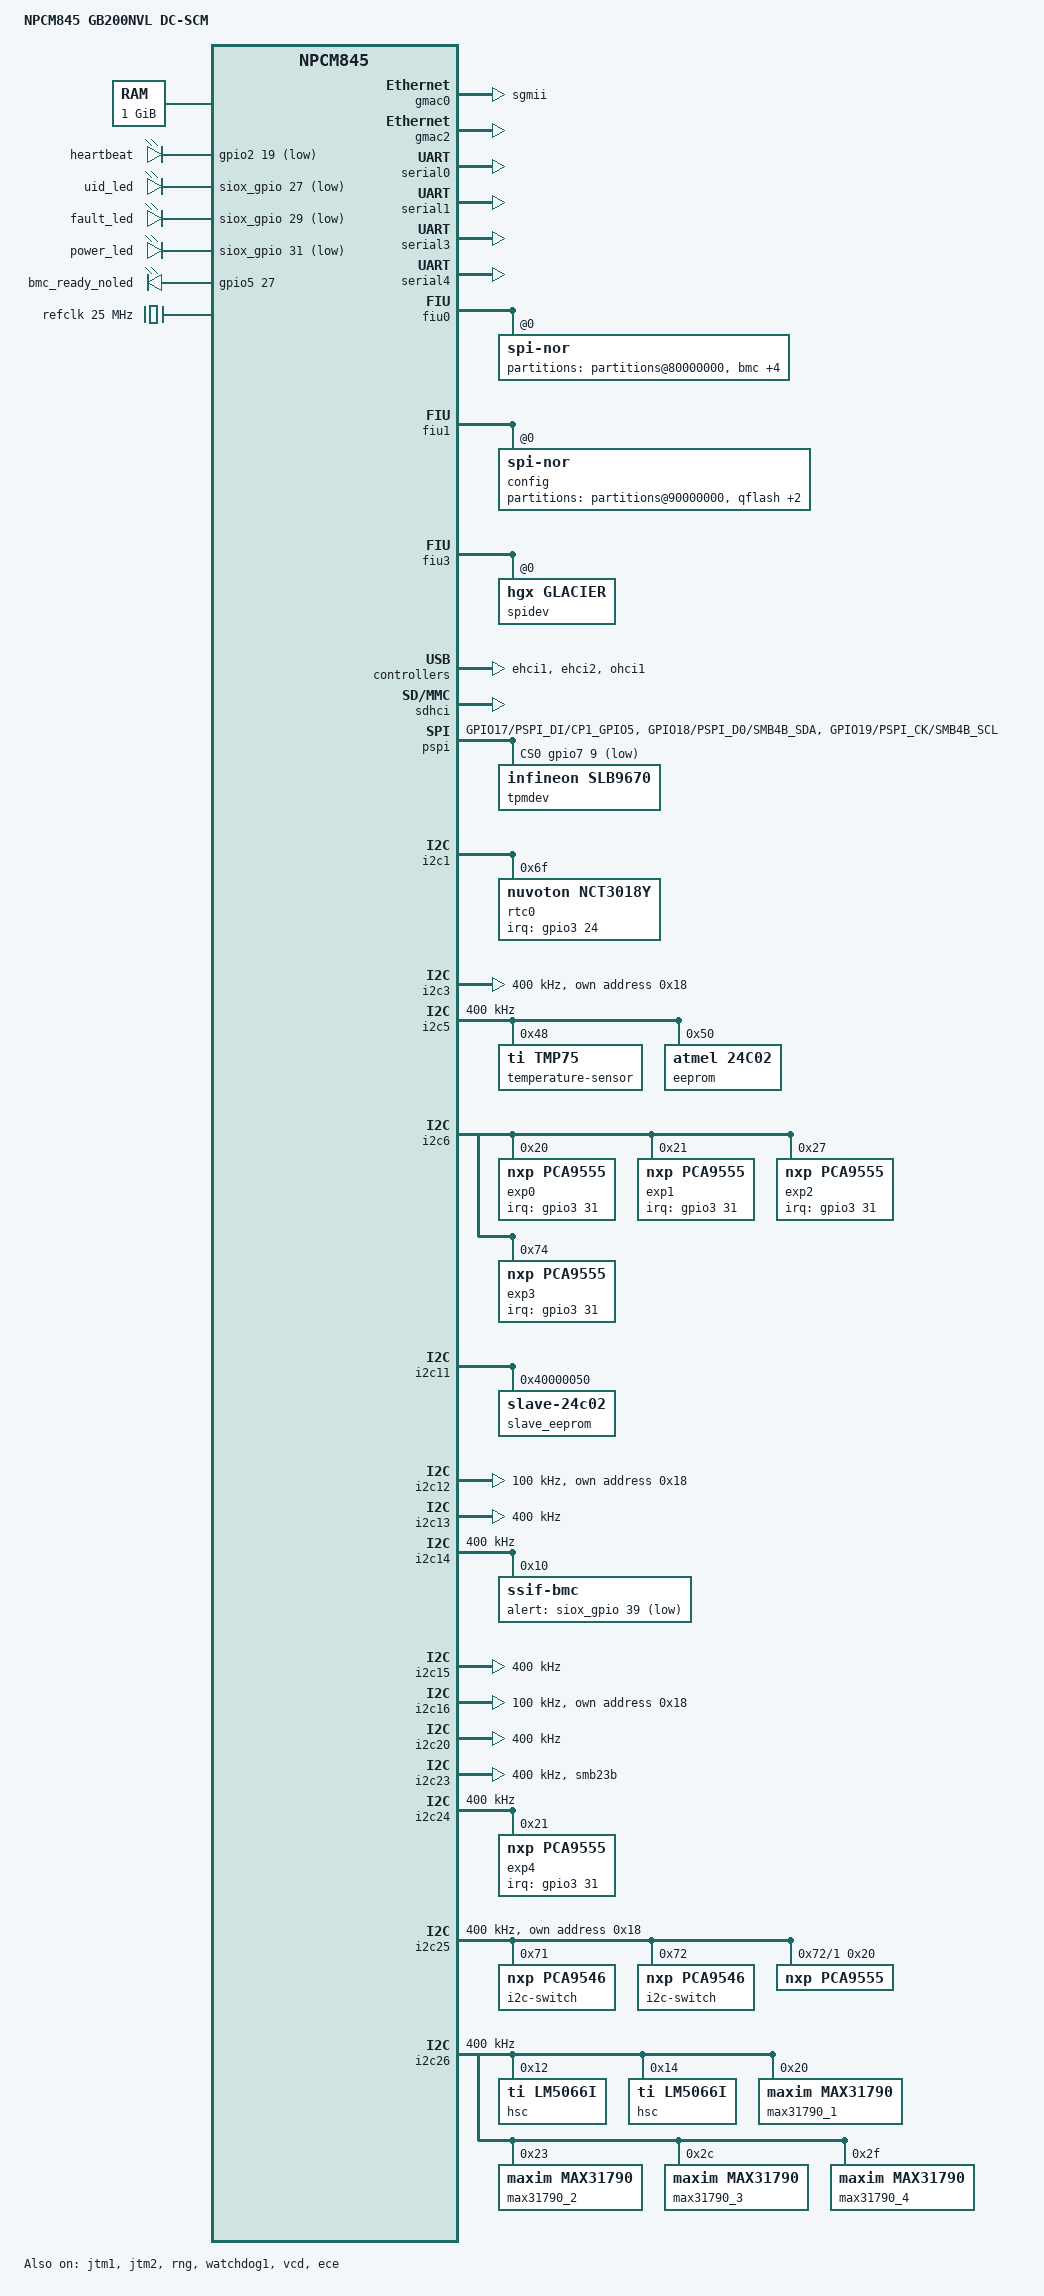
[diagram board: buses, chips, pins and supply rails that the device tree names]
// SPDX-License-Identifier: GPL-2.0
// Copyright (c) 2025 Nuvoton Technology

/dts-v1/;
#include "nuvoton-npcm845.dtsi"
#include <dt-bindings/leds/common.h>
#include <dt-bindings/i2c/i2c.h>
#include <dt-bindings/leds/leds-pca955x.h>

/ {
	model = "NPCM845 GB200NVL DC-SCM";
	compatible = "nuvoton,npcm845";

	aliases {
		serial0 = &serial0;
		serial1 = &serial1;
		serial2 = &serial3;
		serial3 = &serial4;
		ethernet0 = &gmac0;
		ethernet2 = &gmac2;
		fiu0 = &fiu0;
		fiu1 = &fiu1;
		fiu3 = &fiu3;
		i2c0 = &i2c14;
		i2c1 = &i2c15;
		i2c2 = &i2c20;
		i2c3 = &i2c23;
		i2c4 = &i2c24;
		i2c5 = &i2c25;
		i2c6 = &i2c26;
		i2c7 = &i2c2;
		i2c8 = &i2c3;
		i2c9 = &i2c6;
		i2c10 = &i2c5;
		i2c11 = &i2c13;
		i2c12 = &i2c7;
		i2c13 = &i2c0;
		i2c14 = &i2c16;
		i2c15 = &i2c12;
		i2c16 = &imux16;
		i2c17 = &imux17;
		i2c18 = &imux18;
		i2c19 = &imux19;
		i2c20 = &imux20;
		i2c21 = &imux21;
		i2c22 = &imux22;
		i2c23 = &imux23;
		i2c60 = &i2c1;
		i2c61 = &i2c11;
	};

	chosen {
		stdout-path = &serial0;
	};

	memory {
		reg = <0x0 0x0 0x0 0x40000000>;
	};

	led_bmc_hb {
		compatible = "gpio-leds";
		heartbeat {
			label = "heartbeat";
			gpios = <&gpio2 19 GPIO_ACTIVE_LOW>; /* gpio83 */
			linux,default-trigger = "timer";
			led-pattern = <1000 1000>;
			default-state = "on";
		};
	};

	leds {
		compatible = "gpio-leds";
		uid_led {
			gpios = <&siox_gpio 27 GPIO_ACTIVE_LOW>;
		};
		fault_led {
			gpios = <&siox_gpio 29 GPIO_ACTIVE_LOW>;
		};
		power_led {
			gpios = <&siox_gpio 31 GPIO_ACTIVE_LOW>;
		};

		// Non-LEDs:
		//   BMC_READY-O GPIO pin (not an LED) is being bound to the GPIO LED driver.
		// Notes:
		// * This is a workaround and leverages the GPIO LED driver to enable control of
		//   reset tolerance and still allow the GPIO to be controlled from user space.
		// * The standard Linux GPIO driver allows control of reset tolerance, however
		//   does not expose user space APIs for user space control of the GPIO pin.
		// * GPIO_TRANSITORY = reset tolerance is disabled
		// * Any non-leds should be added below this line.
		bmc_ready_noled {
			gpios = <&gpio5 27 GPIO_ACTIVE_HIGH>; /* GPIO187 */
		};
	};

	refclk: refclk-25mhz {
		compatible = "fixed-clock";
		clock-output-names = "ref";
		clock-frequency = <25000000>;
		#clock-cells = <0>;
	};

	reserved-memory {
		#address-cells = <2>;
		#size-cells = <2>;
		ranges;

		tip_reserved: tip@0x0 {
			reg = <0x0 0x0 0x0 0x6200000>;
		};
	};
};

&gmac0 {
	phy-mode = "sgmii";
	npcm,sgmii-an;
	snps,eee-force-disable;
	status = "okay";
};

&gmac2 {
	status = "okay";
	pinctrl-names = "default";
	pinctrl-0 = <&r1_pins
		     &r1oen_pins>;
	use-ncsi;
};

&siox_gpio {
	status = "okay";
	interrupt-controller;
	#interrupt-cells = <2>;
	gpio-line-names =
	"","","","","","","","",
	"","","","","","","","",
	"RUN_POWER_FAULT_L-I","SYS_RST_IN_L-O","RUN_POWER_PG-I","PWR_BRAKE_L-O","SYS_RST_OUT_L-I","RUN_POWER_EN-O","L0L1_RST_REQ_OUT_L-I","SHDN_FORCE_L-O",
	"L2_RST_REQ_OUT_L-I","SHDN_REQ_L-O","SHDN_OK_L-I","UID_LED_N-O","BMC_I2C1_FPGA_ALERT_L-I","SYS_FAULT_LED_N-O","BMC_I2C0_FPGA_ALERT_L-I","PWR_LED_N-O",
	"FPGA_RSVD_FFU3-I","","FPGA_RSVD_FFU2-I","","FPGA_RSVD_FFU1-I","","FPGA_RSVD_FFU0-I","BMC_I2C_SSIF_ALERT_L-O",
	"CPU_BOOT_DONE-I","JTAG_MUX_SELECT-O","SPI_BMC_FPGA_INT_L-I","RTC_CLR_L-O","THERM_BB_WARN_L-I","UART_MUX_SEL-O","THERM_BB_OVERT_L-I","",
	"CPU0_UPHY3_PRSNT1_L-I","IOBRD0_RUN_POWER_EN-O","CPU0_UPHY3_PRSNT0_L-I","IOBRD1_RUN_POWER_EN-O","CPU0_UPHY2_PRSNT1_L-I","FPGA_RSVD_FFU4-O","CPU0_UPHY2_PRSNT0_L-I","FPGA_RSVD_FFU5-O",
	"CPU0_UPHY1_PRSNT1_L-I","FPGA_RSVD_FFU6-O","CPU0_UPHY1_PRSNT0_L-I","FPGA_RSVD_FFU7-O","CPU0_UPHY0_PRSNT1_L-I","RSVD_NV_PLT_DETECT-O","CPU0_UPHY0_PRSNT0_L-I","SPI1_INT_L-O",
	"CPU1_UPHY3_PRSNT1_L-I","","CPU1_UPHY3_PRSNT0_L-I","HMC_EROT_MUX_STATUS","CPU1_UPHY2_PRSNT1_L-I","","CPU1_UPHY2_PRSNT0_L-I","",
	"CPU1_UPHY1_PRSNT1_L-I","","CPU1_UPHY1_PRSNT0_L-I","","CPU1_UPHY0_PRSNT1_L-I","","CPU1_UPHY0_PRSNT0_L-I","",
	"FAN1_PRESENT_L-I","","FAN0_PRESENT_L-I","","","","IPEX_CABLE_PRSNT_L-I","",
	"M2_1_PRSNT_L-I","","M2_0_PRSNT_L-I","","CPU1_UPHY4_PRSNT1_L-I","","CPU0_UPHY4_PRSNT0_L-I","",
	"","","I2C_RTC_ALERT_L-I","","FAN7_PRESENT_L-I","","FAN6_PRESENT_L-I","",
	"FAN5_PRESENT_L-I","","FAN4_PRESENT_L-I","","FAN3_PRESENT_L-I","","FAN2_PRESENT_L-I","",
	"IOBRD0_IOX_INT_L-I","","IOBRD1_PRSNT_L-I","","IOBRD0_PRSNT_L-I","","IOBRD1_PWR_GOOD-I","",
	"IOBRD0_PWR_GOOD-I","","","","","","FAN_FAIL_IN_L-I","",
	"","","","","","","PDB_CABLE_PRESENT_L-I","",
	"","","CHASSIS_PWR_BRK_L-I","","","","IOBRD1_IOX_INT_L-I","",
	"10GBE_SMBALRT_L-I","","PCIE_WAKE_L-I","","I2C_M21_ALERT_L-I","","I2C_M20_ALERT_L-I","",
	"TRAY_FAST_SHDN_L-I","","UID_BTN_N-I","","PWR_BTN_L-I","","PSU_SMB_ALERT_L-I","",
	"","","","","NODE_LOC_ID[0]-I","","NODE_LOC_ID[1]-I","",
	"NODE_LOC_ID[2]-I","","NODE_LOC_ID[3]-I","","NODE_LOC_ID[4]-I","","NODE_LOC_ID[5]-I","",
	"FAN10_PRESENT_L-I","","FAN9_PRESENT_L-I","","FAN8_PRESENT_L-I","","FPGA1_READY_HMC-I","",
	"DP_HPD-I","","HMC_I2C3_FPGA_ALERT_L-I","","HMC_I2C2_FPGA_ALERT_L-I","","FPGA0_READY_HMC-I","",
	"","","","","","","","",
	"LEAK_DETECT_ALERT_L-I","","MOD1_B2B_CABLE_PRESENT_L-I","","MOD1_CLINK_CABLE_PRESENT_L-I","","FAN11_PRESENT_L-I","",
	"","","","","","","","",
	"","","","","","","","",
	"","","","","","","","",
	"","","","","","","","",
	"RSVD_SGPIO_IN_CRC[0]","RSVD_SGPIO_O_CRC[7]","RSVD_SGPIO_IN_CRC[1]","RSVD_SGPIO_O_CRC[6]","RSVD_SGPIO_IN_CRC[2]","RSVD_SGPIO_O_CRC[5]","RSVD_SGPIO_IN_CRC[3]","RSVD_SGPIO_O_CRC[4]",
	"RSVD_SGPIO_IN_CRC[4]","RSVD_SGPIO_O_CRC[3]","RSVD_SGPIO_IN_CRC[5]","RSVD_SGPIO_O_CRC[2]","RSVD_SGPIO_IN_CRC[6]","RSVD_SGPIO_O_CRC[1]","RSVD_SGPIO_IN_CRC[7]","RSVD_SGPIO_O_CRC[0]";
};

&gcr {
	mux-controller {
		compatible = "mmio-mux";
		#mux-control-cells = <1>;
		mux-reg-masks = <0x38 0x07>;
		idle-states = <2>; // UART switch mode 3
	};
};

&serial0 {
	status = "okay";
};

&serial1 {
	status = "okay";
	pinctrl-names = "default";
	pinctrl-0 = <&bmcuart1_pins>;
};

&serial3 {
	status = "okay";
};

&serial4 {
	status = "okay";
	pinctrl-names = "default";
	pinctrl-0 = <&bu4b_pins>;
};

&fiu0 {
	status = "okay";
	reg = <0x0 0xfb000000 0x0 0x1000>;
	reg-names = "control";
	spi-nor@0 {
		compatible = "jedec,spi-nor";
		#address-cells = <1>;
		#size-cells = <1>;
		spi-rx-bus-width = <4>;
		spi-tx-bus-width = <4>;
		reg = <0>;
		partitions@80000000 {
			compatible = "fixed-partitions";
			#address-cells = <1>;
			#size-cells = <1>;
			bmc@0 {
				label = "bmc";
				reg = <0x00000000 0x40000000>;
			};
			u-boot@0 {
				label = "u-boot";
				reg = <0x00000000 0x001E0000>;
			};
			u-boot-env@1E0000 {
				label = "u-boot-env";
				reg = <0x001E0000 0x00020000>;
			};
			kernel@200000 {
				label = "kernel";
				reg = <0x00200000 0x00800000>;
			};
			rofs@a00000 {
				label = "rofs";
				reg = <0x00A00000 0x03600000>;
			};
		};
	};
};

&fiu1 {
	pinctrl-names = "default";
	pinctrl-0 = <&spi1_pins>;
	status = "okay";
	spi-nor@0 {
		compatible = "jedec,spi-nor";
		#address-cells = <1>;
		#size-cells = <1>;
		spi-rx-bus-width = <2>;
		spi-tx-bus-width = <2>;
		reg = <0>;
		label = "config";
		partitions@90000000 {
			compatible = "fixed-partitions";
			#address-cells = <1>;
			#size-cells = <1>;
			qflash@0 {
				label = "qflash";
				reg = <0x00000000 0x04000000>;
			};
			rwfs@0 {
				label = "rwfs";
				reg = <0x00000000 0x01000000>;
			};
			log@0x01000000 {
				label = "log";
				reg = <0x01000000 0x03000000>;
			};
		};
	};
};

&fiu3 {
	pinctrl-names = "default";
	pinctrl-0 = <&spi3_pins
		&spi3quad_pins>;
	status = "okay";
	spidev@0 {
		compatible = "hgx,glacier";
		reg = <0>;
	};
};

&ehci1 {
	status = "okay";
};

&ehci2 {
	status = "okay";
};

&ohci1 {
        status = "okay";
};

&sdhci {
	status = "okay";
};

&jtm1 {
	status = "okay";
};

&jtm2 {
	status = "okay";
};

&rng {
	status = "okay";
};


&watchdog1 {
	status = "okay";
};

&pspi {
	status = "okay";
	cs-gpios = <&gpio7 9 GPIO_ACTIVE_LOW>; /* gpio233 */
	pinctrl-0 = <&pspi_pins
		     &pspi_di_slew
		     &pspi_d0_slew
		     &pspi_ck_slew>;

	// NPCT760AACYX TPM
	spi-max-frequency = <1000000>;
	tpmdev@0 {
		compatible = "infineon,slb9670", "tcg,tpm_tis-spi";
		reg = <0>;
	};
};

&i2c1 {
	status = "okay";
	rtc0: rtc@6f {
		compatible = "nuvoton,nct3018y";
		reg = <0x6f>;
		interrupt-parent = <&gpio3>;
		interrupts = <24 IRQ_TYPE_EDGE_FALLING>; /* gpio120 */
		interrupt-names = "irq";
		wakeup-source;
	};
};

&i2c3 {
	status = "okay";
	clock-frequency = <400000>;
	multi-master;
    mctp-controller;
    mctp@18 {
        compatible = "mctp-i2c-controller";
        reg = <(0x18 | I2C_OWN_SLAVE_ADDRESS)>;
    };
};

&i2c5 {
	status = "okay";
	clock-frequency = <400000>;

	temperature-sensor@48 {
		compatible = "ti,tmp75";
		reg = <0x48>;
	};

	eeprom@50 {
		compatible = "atmel,24c02";
		reg = <0x50>;
		pagesize = <8>;
	};
};

&i2c6 {
	status = "okay";
	// Module 0, Expander @0x20
	exp0: pca9555@20 {
		compatible = "nxp,pca9555";
		reg = <0x20>;
		gpio-controller;
		#gpio-cells = <2>;
		#address-cells = <1>;
		#size-cells = <0>;
		interrupt-controller;
		#interrupt-cells = <2>;
		interrupt-parent = <&gpio3>;
		interrupts = <31 IRQ_TYPE_EDGE_FALLING>; /* gpio127 */

		gpio-line-names =
		"FPGA_THERM_OVERT_L-I",
		"FPGA_READY_BMC-I",
		"HMC_BMC_DETECT-O",
		"HMC_PGOOD-O",
		"",
		"BMC_STBY_CYCLE-O",
		"FPGA_EROT_FATAL_ERROR_L-I",
		"WP_HW_EXT_CTRL_L-O",
		"EROT_FPGA_RST_L-O",
		"FPGA_EROT_RECOVERY_L-O",
		"BMC_EROT_FPGA_SPI_MUX_SEL-O",
		"USB_HUB_RESET_L-O",
		"NCSI_CS1_SEL-O",
		"SGPIO_EN_L-O",
		"B2B_IOEXP_INT_L-I",
		"I2C_BUS_MUX_RESET_L-O";
	};

	// Module 1, Expander @0x21
	exp1: pca9555@21 {
		compatible = "nxp,pca9555";
		reg = <0x21>;
		gpio-controller;
		#gpio-cells = <2>;
		#address-cells = <1>;
		#size-cells = <0>;
		interrupt-controller;
		#interrupt-cells = <2>;
		interrupt-parent = <&gpio3>;
		interrupts = <31 IRQ_TYPE_EDGE_FALLING>; /* gpio127 */

		gpio-line-names =
		"SEC_FPGA_THERM_OVERT_L-I",
		"SEC_FPGA_READY_BMC-I",
		"",
		"",
		"",
		"",
		"SEC_FPGA_EROT_FATAL_ERROR_L-I",
		"SEC_WP_HW_EXT_CTRL_L-O",
		"SEC_EROT_FPGA_RST_L-O",
		"SEC_FPGA_EROT_RECOVERY_L-O",
		"SEC_BMC_EROT_FPGA_SPI_MUX_SEL-O",
		"SEC_USB2_HUB_RST_L-O",
		"",
		"",
		"",
		"SEC_I2C_BUS_MUX_RESET_L-O";
	};

	// HMC Expander @0x27
	exp2: pca9555@27 {
		compatible = "nxp,pca9555";
		reg = <0x27>;
		gpio-controller;
		#gpio-cells = <2>;
		#address-cells = <1>;
		#size-cells = <0>;
		interrupt-controller;
		#interrupt-cells = <2>;
		interrupt-parent = <&gpio3>;
		interrupts = <31 IRQ_TYPE_EDGE_FALLING>; /* gpio127 */

		gpio-line-names =
		"HMC_PRSNT_L-I",
		"HMC_READY-I",
		"HMC_EROT_FATAL_ERROR_L-I",
		"I2C_MUX_SEL-O",
		"HMC_EROT_SPI_MUX_SEL-O",
		"HMC_EROT_RECOVERY_L-O",
		"HMC_EROT_RST_L-O",
		"GLOBAL_WP_HMC-O",
		"FPGA_RST_L-O",
		"USB2_HUB_RST-O",
		"CPU_UART_MUX_SEL-O",
		"",
		"",
		"",
		"",
		"";
	};

	// HMC Expander @0x74
	exp3: pca9555@74 {
		compatible = "nxp,pca9555";
		reg = <0x74>;
		gpio-controller;
		#gpio-cells = <2>;
		#address-cells = <1>;
		#size-cells = <0>;
		interrupt-controller;
		#interrupt-cells = <2>;
		interrupt-parent = <&gpio3>;
		interrupts = <31 IRQ_TYPE_EDGE_FALLING>; /* gpio127 */

		gpio-line-names =
		"IOB_PRSNT_L",
		"IOB_DP_HPD",
		"IOX_BMC_RESET",
		"IOB_IOEXP_INT_L",
		"IOB_UID_LED_L",
		"IOB_UID_BTN_L",
		"IOB_SYS_RST_BTN_L",
		"IOB_PWR_LED_L",
		"IOB_PWR_BTN_L",
		"IOB_PHY_RST",
		"CPLD_JTAG_MUX_SEL",
		"",
		"",
		"",
		"",
		"";
	};
};

&i2c11 {
	status = "okay";
	/delete-property/ pinctrl-0;
	/delete-property/ pinctrl-names;
	//Internal eeprom for DVO
	slave_eeprom: slave_eeprom@40000050 {
		compatible = "slave-24c02";
		reg = <0x40000050>;
		status = "okay";
	};
};

&i2c12 {
	status = "okay";
	clock-frequency = <100000>;
	multi-master;
    mctp-controller;
    mctp@18 {
        compatible = "mctp-i2c-controller";
        reg = <(0x18 | I2C_OWN_SLAVE_ADDRESS)>;
    };
};

&i2c13 {
	status = "okay";
	clock-frequency = <400000>;
};


&i2c14 {
	status = "okay";
	clock-frequency = <400000>;
	ssif-bmc@10 {
		compatible = "ssif-bmc";
		alert-gpio = <&siox_gpio 39 GPIO_ACTIVE_LOW>;
		pulse_width_us = <5>;
		timeout_ms = <4995>;
		reg = <0x10>;
	};
};

&i2c15 {
	status = "okay";
	clock-frequency = <400000>;
	multi-master;
};

&i2c16 {
	status = "okay";
	clock-frequency = <100000>;
	multi-master;
    mctp-controller;
    mctp@18 {
        compatible = "mctp-i2c-controller";
        reg = <(0x18 | I2C_OWN_SLAVE_ADDRESS)>;
    };
};

&i2c20 {
	status = "okay";
	clock-frequency = <400000>;
	multi-master;
};

&i2c23 {
	status = "okay";
	clock-frequency = <400000>;
	pinctrl-0 = <&smb23b_pins>;
};

&i2c24 {
	status = "okay";
	clock-frequency = <400000>;
	pinctrl-0 = <&smb8_pins>;

	// Module 0, Expander @0x21
	exp4: pca9555@21 {
		compatible = "nxp,pca9555";
		reg = <0x21>;
		gpio-controller;
		#gpio-cells = <2>;
		#address-cells = <1>;
		#size-cells = <0>;
		interrupt-controller;
		#interrupt-cells = <2>;
		interrupt-parent = <&gpio3>;
		interrupts = <31 IRQ_TYPE_EDGE_FALLING>; /* gpio127 */

		gpio-line-names =
		"RTC_MUX_SEL-O",
		"PCI_MUX_SEL-O",
		"TPM_MUX_SEL-O",
		"FAN_MUX-SEL-O",
		"SGMII_MUX_SEL-O",
		"DP_MUX_SEL-O",
		"UPHY3_USB_SEL-O",
		"NCSI_MUX_SEL-O",
		"BMC_PHY_RST-O",
		"RTC_CLR_L-O",
		"BMC_12V_CTRL-O",
		"PS_RUN_IO0_PG-I",
		"",
		"",
		"",
		"";
	};
};

&i2c25 {
	status = "okay";
	clock-frequency = <400000>;
	pinctrl-0 = <&smb9_pins>;
	mctp-controller;
	multi-master;
    mctp@18 {
        compatible = "mctp-i2c-controller";
        reg = <(0x18 | I2C_OWN_SLAVE_ADDRESS)>;
    };
    i2c-switch@71 {
        compatible = "nxp,pca9546";
        #address-cells = <1>;
        #size-cells = <0>;
        reg = <0x71>;

        imux16: i2c@0 {
            #address-cells = <1>;
            #size-cells = <0>;
            reg = <0>;
            mctp-controller;
        };

        imux17: i2c@1 {
            #address-cells = <1>;
            #size-cells = <0>;
            reg = <1>;
        };

        imux18: i2c@2 {
            #address-cells = <1>;
            #size-cells = <0>;
            reg = <2>;
            mctp-controller;
        };

        imux19: i2c@3 {
            #address-cells = <1>;
            #size-cells = <0>;
            reg = <3>;
        };
    };

    i2c-switch@72 {
        compatible = "nxp,pca9546";
        #address-cells = <1>;
        #size-cells = <0>;
        reg = <0x72>;

        imux20: i2c@0 {
            #address-cells = <1>;
            #size-cells = <0>;
            reg = <0>;
        };

        imux21: i2c@1 {
            #address-cells = <1>;
            #size-cells = <0>;
            reg = <1>;
            pca9555@20 {
                compatible = "nxp,pca9555";
                reg = <0x20>;
                gpio-controller;
                #gpio-cells = <2>;
                #address-cells = <1>;
                #size-cells = <0>;
                gpio-line-names =
                    "RST_CX_0_L-O",
                    "RST_CX_1_L-O",
                    "CX0_SSD0_PRSNT_L-I",
                    "CX1_SSD1_PRSNT_L-I",
                    "CX_BOOT_CMPLT_CX0-I",
                    "CX_BOOT_CMPLT_CX1-I",
                    "CX_TWARN_CX0_L-I",
                    "CX_TWARN_CX1_L-I",
                    "CX_OVT_SHDN_CX0-I",
                    "CX_OVT_SHDN_CX1-I",
                    "FNP_L_CX0-O",
                    "FNP_L_CX1-O",
                    "",
                    "MCU_GPIO-I",
                    "MCU_RST_N-O",
                    "MCU_RECOVERY_N-O";
            };
        };

        imux22: i2c@2 {
            #address-cells = <1>;
            #size-cells = <0>;
            reg = <2>;
        };

        imux23: i2c@3 {
            #address-cells = <1>;
            #size-cells = <0>;
            reg = <3>;
        };
    };
};

&i2c26 {
	status = "okay";
	clock-frequency = <400000>;
	pinctrl-0 = <&smb10_pins>;

	hsc@12 {
		compatible = "ti,lm5066i";
		reg = <0x12>;
		shunt-resistor-micro-ohms = <190>;
		status = "okay";
	};

	hsc@14 {
		compatible = "ti,lm5066i";
		reg = <0x14>;
		shunt-resistor-micro-ohms = <190>;
		status = "okay";
	};

	max31790_1 {
		compatible = "maxim,max31790";
		reg = <0x20>;
		#address-cells = <1>;
		#size-cells = <0>;
	};

	max31790_2 {
		compatible = "maxim,max31790";
		reg = <0x23>;
		#address-cells = <1>;
		#size-cells = <0>;
	};

	max31790_3 {
		compatible = "maxim,max31790";
		reg = <0x2c>;
		#address-cells = <1>;
		#size-cells = <0>;
	};

	max31790_4 {
		compatible = "maxim,max31790";
		reg = <0x2f>;
		#address-cells = <1>;
		#size-cells = <0>;
	};
};


&vcd {
	status = "okay";
	nuvoton,hsync-mode;
};

&ece {
	status = "okay";
};

&pinctrl {
	pinctrl-names = "default";
	pinctrl-0 = <&tp_uart_pins
		     &pin120_input
			 &pin75_oh>;

	gpio0: gpio@f0010000 {
		interrupt-controller;
		#interrupt-cells = <2>;
		gpio-line-names =
		/*0-31*/
		"","","","","","","","",
		"BMC_FRU_WP-O","","","","","","","",
		"PCB_TEMP_ALERT-I","","","","","","","",
		"","","","","","","","";
	};

	gpio1: gpio@f0011000 {
		interrupt-controller;
		#interrupt-cells = <2>;
		gpio-line-names =
		/*32-63*/
		"","","","","","","","SPI_HOST_TPM_RST_L-O",
		"","","","","","","","",
		"","","","","","","","",
		"","","","","","","","";
	};

	gpio2: gpio@f0012000 {
		interrupt-controller;
		#interrupt-cells = <2>;
		gpio-line-names =
		/*64-95*/
		"","","UART1_MUX_SEL-O","UART3_MUX_SEL-O","SGPIO_BMC_EN-O","SGPIO_I2C_MUX_SEL-O","TPM_MUX_SEL-O","",
		"","","","","","","SPI_BMC_FPGA_INT_L-I","",
		"","HMC_RESET_L-O","STBY_POWER_EN-O","","","","FPGA_PEX_RST_L-O","",
		"","","","","","","","";
	};

	gpio3: gpio@f0013000 {
		interrupt-controller;
		#interrupt-cells = <2>; gpio-line-names =
		/*96-127*/
		"","","","","","","","",
		"","","","","","","","",
		"","","","","","","","",
		"","","","","","","","IO_EXPANDER_INT_L-I";
	};

	gpio4: gpio@f0014000 {
		interrupt-controller;
		#interrupt-cells = <2>;
		gpio-line-names =
		/*128-159*/
		"","","","","","","","",
		"","","","","","","","",
		"STBY_POWER_PG-I","","","","","","","",
		"","","","EMMC_RST-O","","","","";
	};

	gpio5: gpio@f0015000 {
		interrupt-controller;
		#interrupt-cells = <2>;
		gpio-line-names =
		/*160-191*/
		"","","","","","","","",
		"","","","","","","","",
		"","","","","","","","",
		"","","","BMC_READY-O","","","","";
	};

	gpio6: gpio@f0016000 {
		interrupt-controller;
		#interrupt-cells = <2>;
		gpio-line-names =
		/*192-223*/
		"","","","","","","","",
		"","","","","","","","",
		"","","","","","","","",
		"","","","","","","",""; };

	gpio7: gpio@f0017000 {
		interrupt-controller;
		#interrupt-cells = <2>;
		gpio-line-names =
		/*224-255*/
		"","","","","","","","",
		"","","","","","","","",
		"","","","","","","","",
		"","","","","","","","";
	};

	tp_uart_pins: tp-uart-pins {
		groups = "tp_uart";
		function = "tp_uart";
	};

	pspi_di_slew: pspi-di-slew {
		pins = "GPIO17/PSPI_DI/CP1_GPIO5";
		slew-rate = <1>;
	};

	pspi_d0_slew: pspi-d0-slew {
		pins = "GPIO18/PSPI_D0/SMB4B_SDA";
		slew-rate = <1>;
	};

	pspi_ck_slew: pspi-ck-slew {
		pins = "GPIO19/PSPI_CK/SMB4B_SCL";
		slew-rate = <1>;
	};

	pin120_input: pin120-input {
		pins = "GPIO120/SMB2C_SDA";
		bias-disable;
		input-enable;
	};

	pin233_ol: pin233-ol {
		pins = "GPIO233/SPI1_nCS1/FM1_CSO";
		bias-disable;
		output-low;
	};

	pin75_oh: pin75-oh {
		pins = "GPIO75/FANIN11";
		bias-disable;
		output-high;
	};

	smb23b_pins: smb23b-pins {
		groups = "smb23b";
		function = "smb23b";
	};
};
